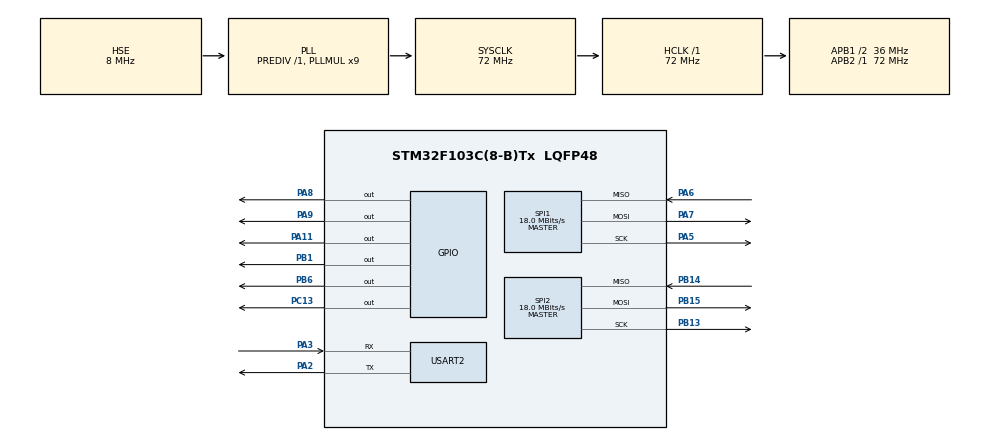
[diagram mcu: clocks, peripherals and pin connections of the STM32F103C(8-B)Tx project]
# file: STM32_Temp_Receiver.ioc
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Mcu.Family=STM32F1
Mcu.Name=STM32F103C(8-B)Tx
Mcu.Package=LQFP48
NVIC.PriorityGroup=NVIC_PRIORITYGROUP_4
PA11.Signal=GPIO_Output
PA13.Mode=Serial_Wire
PA13.Signal=SYS_JTMS-SWDIO
PA14.Mode=Serial_Wire
PA14.Signal=SYS_JTCK-SWCLK
PA2.Mode=Asynchronous
PA2.Signal=USART2_TX
PA3.Mode=Asynchronous
PA3.Signal=USART2_RX
PA5.Mode=Full_Duplex_Master
PA5.Signal=SPI1_SCK
PA6.Mode=Full_Duplex_Master
PA6.Signal=SPI1_MISO
PA7.Mode=Full_Duplex_Master
PA7.Signal=SPI1_MOSI
PA8.Signal=GPIO_Output
PA9.Signal=GPIO_Output
PB1.Signal=GPIO_Output
PB13.Mode=Full_Duplex_Master
PB13.Signal=SPI2_SCK
PB14.Mode=Full_Duplex_Master
PB14.Signal=SPI2_MISO
PB15.Mode=Full_Duplex_Master
PB15.Signal=SPI2_MOSI
PB6.Signal=GPIO_Output
PC13-TAMPER-RTC.Signal=GPIO_Output
PC14-OSC32_IN.Mode=LSE-External-Oscillator
PC14-OSC32_IN.Signal=RCC_OSC32_IN
PC15-OSC32_OUT.Mode=LSE-External-Oscillator
PC15-OSC32_OUT.Signal=RCC_OSC32_OUT
PD0-OSC_IN.Mode=HSE-External-Oscillator
PD0-OSC_IN.Signal=RCC_OSC_IN
PD1-OSC_OUT.Mode=HSE-External-Oscillator
PD1-OSC_OUT.Signal=RCC_OSC_OUT
ProjectManager.HeapSize=0x200
ProjectManager.StackSize=0x400
ProjectManager.TargetToolchain=STM32CubeIDE
RCC.AHBFreq_Value=72000000
RCC.APB1CLKDivider=RCC_HCLK_DIV2
RCC.APB1Freq_Value=36000000
RCC.APB1TimFreq_Value=72000000
RCC.APB2Freq_Value=72000000
RCC.APB2TimFreq_Value=72000000
RCC.HCLKFreq_Value=72000000
RCC.PLLMUL=RCC_PLL_MUL9
RCC.PLLSourceVirtual=RCC_PLLSOURCE_HSE
RCC.SYSCLKFreq_VALUE=72000000
RCC.SYSCLKSource=RCC_SYSCLKSOURCE_PLLCLK
RCC.USBFreq_Value=72000000
SPI1.BaudRatePrescaler=SPI_BAUDRATEPRESCALER_4
SPI1.CalculateBaudRate=18.0 MBits/s
SPI1.Direction=SPI_DIRECTION_2LINES
SPI1.Mode=SPI_MODE_MASTER
SPI1.VirtualType=VM_MASTER
SPI2.BaudRatePrescaler=SPI_BAUDRATEPRESCALER_2
SPI2.CalculateBaudRate=18.0 MBits/s
SPI2.Direction=SPI_DIRECTION_2LINES
SPI2.Mode=SPI_MODE_MASTER
SPI2.VirtualType=VM_MASTER
USART2.VirtualMode=VM_ASYNC
board=custom

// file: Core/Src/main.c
/* USER CODE BEGIN Header */
/**
  ******************************************************************************
  * @file           : main.c
  * @brief          : Main program body
  ******************************************************************************
  * @attention
  *
  * <h2><center>&copy; Copyright (c) 2020 STMicroelectronics.
  * All rights reserved.</center></h2>
  *
  * This software component is licensed by ST under BSD 3-Clause license,
  * the "License"; You may not use this file except in compliance with the
  * License. You may obtain a copy of the License at:
  *                        opensource.org/licenses/BSD-3-Clause
  *
  ******************************************************************************
  */
/* USER CODE END Header */
#include "main.h"

/* USER CODE BEGIN Includes */
#include <string.h>
#include <stdarg.h>
#include <stdio.h>
#include "ili9341.h"

#include "fonts.h"
#include "rfm69.h"

//#include "testimg.h"
/* USER CODE END Includes */

SPI_HandleTypeDef hspi1;
SPI_HandleTypeDef hspi2;

UART_HandleTypeDef huart2;

void SystemClock_Config(void);
static void MX_GPIO_Init(void);
static void MX_SPI1_Init(void);
static void MX_USART2_UART_Init(void);
static void MX_SPI2_Init(void);

/* USER CODE BEGIN 0 */
void UART_Printf(const char* fmt, ...) {
    char buff[256];
    va_list args;
    va_start(args, fmt);
    vsnprintf(buff, sizeof(buff), fmt, args);
    HAL_UART_Transmit(&huart2, (uint8_t*)buff, strlen(buff),
                      HAL_MAX_DELAY);
    va_end(args);
}

void init() {
    ILI9341_Unselect();
    ILI9341_Init();

}

void loop() {
    if(HAL_SPI_DeInit(&hspi1) != HAL_OK) {
        UART_Printf("HAL_SPI_DeInit failed!\r\n");
        return;
    }

    hspi1.Init.BaudRatePrescaler = SPI_BAUDRATEPRESCALER_2;

    if(HAL_SPI_Init(&hspi1) != HAL_OK) {
        UART_Printf("HAL_SPI_Init failed!\r\n");
        return;
    }

    // Check border
    ILI9341_FillScreen(ILI9341_BLACK);
    UART_Printf("After black!\r\n");

    for(int x = 0; x < ILI9341_WIDTH; x++) {
        ILI9341_DrawPixel(x, 0, ILI9341_RED);
        ILI9341_DrawPixel(x, ILI9341_HEIGHT-1, ILI9341_RED);
    }
    UART_Printf("After first loop!\r\n");

    for(int y = 0; y < ILI9341_HEIGHT; y++) {
        ILI9341_DrawPixel(0, y, ILI9341_RED);
        ILI9341_DrawPixel(ILI9341_WIDTH-1, y, ILI9341_RED);
    }

    HAL_Delay(3000);

    // Check fonts
    ILI9341_FillScreen(ILI9341_BLACK);
    ILI9341_WriteString(0, 0, "Font_7x10, red on black, lorem ipsum dolor sit amet", Font_7x10, ILI9341_RED, ILI9341_BLACK);
    ILI9341_WriteString(0, 3*10, "Font_11x18, green, lorem ipsum dolor sit amet", Font_11x18, ILI9341_GREEN, ILI9341_BLACK);
    ILI9341_WriteString(0, 3*10+3*18, "Font_16x26, blue, lorem ipsum dolor sit amet", Font_16x26, ILI9341_BLUE, ILI9341_BLACK);

    HAL_Delay(1000);
    ILI9341_InvertColors(true);
    HAL_Delay(1000);
    ILI9341_InvertColors(false);

    HAL_Delay(5000);

    // Check colors
    ILI9341_FillScreen(ILI9341_WHITE);
    ILI9341_WriteString(0, 0, "WHITE", Font_11x18, ILI9341_BLACK, ILI9341_WHITE);
    HAL_Delay(500);

    ILI9341_FillScreen(ILI9341_BLUE);
    ILI9341_WriteString(0, 0, "BLUE", Font_11x18, ILI9341_BLACK, ILI9341_BLUE);
    HAL_Delay(500);

    ILI9341_FillScreen(ILI9341_RED);
    ILI9341_WriteString(0, 0, "RED", Font_11x18, ILI9341_BLACK, ILI9341_RED);
    HAL_Delay(500);

    ILI9341_FillScreen(ILI9341_GREEN);
    ILI9341_WriteString(0, 0, "GREEN", Font_11x18, ILI9341_BLACK, ILI9341_GREEN);
    HAL_Delay(500);

    ILI9341_FillScreen(ILI9341_CYAN);
    ILI9341_WriteString(0, 0, "CYAN", Font_11x18, ILI9341_BLACK, ILI9341_CYAN);
    HAL_Delay(500);

    ILI9341_FillScreen(ILI9341_MAGENTA);
    ILI9341_WriteString(0, 0, "MAGENTA", Font_11x18, ILI9341_BLACK, ILI9341_MAGENTA);
    HAL_Delay(500);

    ILI9341_FillScreen(ILI9341_YELLOW);
    ILI9341_WriteString(0, 0, "YELLOW", Font_11x18, ILI9341_BLACK, ILI9341_YELLOW);
    HAL_Delay(500);

    ILI9341_FillScreen(ILI9341_BLACK);
    ILI9341_WriteString(0, 0, "BLACK", Font_11x18, ILI9341_WHITE, ILI9341_BLACK);
    HAL_Delay(500);

    //ILI9341_DrawImage((ILI9341_WIDTH - 240) / 2, (ILI9341_HEIGHT - 240) / 2, 240, 240, (const uint16_t*)test_img_240x240);

    HAL_Delay(3000);

    ILI9341_FillScreen(ILI9341_BLACK);
    ILI9341_WriteString(0, 0, "Touchpad test.  Draw something!", Font_11x18, ILI9341_WHITE, ILI9341_BLACK);
    HAL_Delay(1000);
    ILI9341_FillScreen(ILI9341_BLACK);

    if(HAL_SPI_DeInit(&hspi1) != HAL_OK) {
        UART_Printf("HAL_SPI_DeInit failed!\r\n");
        return;
    }

    hspi1.Init.BaudRatePrescaler = SPI_BAUDRATEPRESCALER_128;

    if(HAL_SPI_Init(&hspi1) != HAL_OK) {
        UART_Printf("HAL_SPI_Init failed!\r\n");
        return;
    }

}

/* USER CODE END 0 */

int main(void)
{

  /* MCU Configuration--------------------------------------------------------*/

  /* Reset of all peripherals, Initializes the Flash interface and the Systick. */
  HAL_Init();

  /* Configure the system clock */
  SystemClock_Config();

  /* Initialize all configured peripherals */
  MX_GPIO_Init();
  MX_SPI1_Init();
  MX_USART2_UART_Init();
  MX_SPI2_Init();
  /* USER CODE BEGIN 2 */
  UART_Printf("Hello world!\r\n");
  HAL_GPIO_WritePin(GPIOC, GPIO_PIN_13, GPIO_PIN_SET);
  /* USER CODE END 2 */

  /* Infinite loop */
  /* USER CODE BEGIN WHILE */
  init();
  ILI9341_FillScreen(ILI9341_BLACK);
  ILI9341_WriteString(0, 0, "Font_7x10, Hello World!", Font_7x10, ILI9341_WHITE, ILI9341_BLACK);
  ILI9341_WriteString(0, 50, "Font_11x18, Hello World!", Font_11x18, ILI9341_WHITE, ILI9341_BLACK);

  HAL_GPIO_WritePin(GPIOA, GPIO_PIN_8, GPIO_PIN_SET);
  //HAL_GPIO_WritePin(GPIOA, GPIO_PIN_8, GPIO_PIN_RESET);

  //HAL_GPIO_WritePin(GPIOA, GPIO_PIN_8, GPIO_PIN_SET);

  //RFM69_reset();

  // init RF module and put it to sleep
  RFM69_init(RF69_868MHZ, 100);
  RFM69_dumpRegisters();
    while (1)
    {

    /* USER CODE END WHILE */

    }
}

void SystemClock_Config(void)
{
  RCC_OscInitTypeDef RCC_OscInitStruct = {0};
  RCC_ClkInitTypeDef RCC_ClkInitStruct = {0};

  /** Initializes the RCC Oscillators according to the specified parameters
  * in the RCC_OscInitTypeDef structure.
  */
  RCC_OscInitStruct.OscillatorType = RCC_OSCILLATORTYPE_HSE;
  RCC_OscInitStruct.HSEState = RCC_HSE_ON;
  RCC_OscInitStruct.HSEPredivValue = RCC_HSE_PREDIV_DIV1;
  RCC_OscInitStruct.HSIState = RCC_HSI_ON;
  RCC_OscInitStruct.PLL.PLLState = RCC_PLL_ON;
  RCC_OscInitStruct.PLL.PLLSource = RCC_PLLSOURCE_HSE;
  RCC_OscInitStruct.PLL.PLLMUL = RCC_PLL_MUL9;
  if (HAL_RCC_OscConfig(&RCC_OscInitStruct) != HAL_OK)
  {
    Error_Handler();
  }
  /** Initializes the CPU, AHB and APB buses clocks
  */
  RCC_ClkInitStruct.ClockType = RCC_CLOCKTYPE_HCLK|RCC_CLOCKTYPE_SYSCLK
                              |RCC_CLOCKTYPE_PCLK1|RCC_CLOCKTYPE_PCLK2;
  RCC_ClkInitStruct.SYSCLKSource = RCC_SYSCLKSOURCE_PLLCLK;
  RCC_ClkInitStruct.AHBCLKDivider = RCC_SYSCLK_DIV1;
  RCC_ClkInitStruct.APB1CLKDivider = RCC_HCLK_DIV2;
  RCC_ClkInitStruct.APB2CLKDivider = RCC_HCLK_DIV1;

  if (HAL_RCC_ClockConfig(&RCC_ClkInitStruct, FLASH_LATENCY_2) != HAL_OK)
  {
    Error_Handler();
  }
}

static void MX_SPI1_Init(void)
{

  /* SPI1 parameter configuration*/
  hspi1.Instance = SPI1;
  hspi1.Init.Mode = SPI_MODE_MASTER;
  hspi1.Init.Direction = SPI_DIRECTION_2LINES;
  hspi1.Init.DataSize = SPI_DATASIZE_8BIT;
  hspi1.Init.CLKPolarity = SPI_POLARITY_LOW;
  hspi1.Init.CLKPhase = SPI_PHASE_1EDGE;
  hspi1.Init.NSS = SPI_NSS_SOFT;
  hspi1.Init.BaudRatePrescaler = SPI_BAUDRATEPRESCALER_4;
  hspi1.Init.FirstBit = SPI_FIRSTBIT_MSB;
  hspi1.Init.TIMode = SPI_TIMODE_DISABLE;
  hspi1.Init.CRCCalculation = SPI_CRCCALCULATION_DISABLE;
  hspi1.Init.CRCPolynomial = 10;
  if (HAL_SPI_Init(&hspi1) != HAL_OK)
  {
    Error_Handler();
  }

}

static void MX_SPI2_Init(void)
{

  /* SPI2 parameter configuration*/
  hspi2.Instance = SPI2;
  hspi2.Init.Mode = SPI_MODE_MASTER;
  hspi2.Init.Direction = SPI_DIRECTION_2LINES;
  hspi2.Init.DataSize = SPI_DATASIZE_8BIT;
  hspi2.Init.CLKPolarity = SPI_POLARITY_LOW;
  hspi2.Init.CLKPhase = SPI_PHASE_1EDGE;
  hspi2.Init.NSS = SPI_NSS_SOFT;
  //hspi2.Init.BaudRatePrescaler = SPI_BAUDRATEPRESCALER_2;
  hspi2.Init.BaudRatePrescaler = SPI_BAUDRATEPRESCALER_32;
  hspi2.Init.FirstBit = SPI_FIRSTBIT_MSB;
  hspi2.Init.TIMode = SPI_TIMODE_DISABLE;
  hspi2.Init.CRCCalculation = SPI_CRCCALCULATION_DISABLE;
  hspi2.Init.CRCPolynomial = 7;
  if (HAL_SPI_Init(&hspi2) != HAL_OK)
  {
    Error_Handler();
  }

}

static void MX_USART2_UART_Init(void)
{

  huart2.Instance = USART2;
  huart2.Init.BaudRate = 115200;
  huart2.Init.WordLength = UART_WORDLENGTH_8B;
  huart2.Init.StopBits = UART_STOPBITS_1;
  huart2.Init.Parity = UART_PARITY_NONE;
  huart2.Init.Mode = UART_MODE_TX_RX;
  huart2.Init.HwFlowCtl = UART_HWCONTROL_NONE;
  huart2.Init.OverSampling = UART_OVERSAMPLING_16;
  if (HAL_UART_Init(&huart2) != HAL_OK)
  {
    Error_Handler();
  }

}

static void MX_GPIO_Init(void)
{
  GPIO_InitTypeDef GPIO_InitStruct = {0};

  /* GPIO Ports Clock Enable */
  __HAL_RCC_GPIOC_CLK_ENABLE();
  __HAL_RCC_GPIOD_CLK_ENABLE();
  __HAL_RCC_GPIOA_CLK_ENABLE();
  __HAL_RCC_GPIOB_CLK_ENABLE();

  /*Configure GPIO pin Output Level */
    	     HAL_GPIO_WritePin(GPIOC, GPIO_PIN_13, GPIO_PIN_RESET);

    	     /*Configure GPIO pin Output Level */
    	     HAL_GPIO_WritePin(GPIOB, GPIO_PIN_1|GPIO_PIN_6, GPIO_PIN_RESET);

    	     /*Configure GPIO pin Output Level */
    	     HAL_GPIO_WritePin(GPIOA, GPIO_PIN_8|GPIO_PIN_9|GPIO_PIN_11, GPIO_PIN_RESET);

  /*Configure GPIO pin : PC13 */
  GPIO_InitStruct.Pin = GPIO_PIN_13;
  GPIO_InitStruct.Mode = GPIO_MODE_OUTPUT_PP;
  GPIO_InitStruct.Pull = GPIO_NOPULL;
  GPIO_InitStruct.Speed = GPIO_SPEED_FREQ_LOW;
  HAL_GPIO_Init(GPIOC, &GPIO_InitStruct);

  /*Configure GPIO pins : PB1 PB6 */
  GPIO_InitStruct.Pin = GPIO_PIN_1|GPIO_PIN_6;
  GPIO_InitStruct.Mode = GPIO_MODE_OUTPUT_PP;
  GPIO_InitStruct.Pull = GPIO_NOPULL;
  GPIO_InitStruct.Speed = GPIO_SPEED_FREQ_LOW;
  HAL_GPIO_Init(GPIOB, &GPIO_InitStruct);

  /*Configure GPIO pins : PA8 PA9 PA11 */
  GPIO_InitStruct.Pin = GPIO_PIN_8|GPIO_PIN_9|GPIO_PIN_11;
  GPIO_InitStruct.Mode = GPIO_MODE_OUTPUT_PP;
  GPIO_InitStruct.Pull = GPIO_NOPULL;
  GPIO_InitStruct.Speed = GPIO_SPEED_FREQ_LOW;
  HAL_GPIO_Init(GPIOA, &GPIO_InitStruct);

  /*
  GPIO_InitTypeDef gpio;
  	 gpio.Mode = GPIO_MODE_AF_PP;
  	 gpio.Pin = GPIO_PIN_13 | GPIO_PIN_15;		// SCK, MOSI
  	 gpio.Pull = GPIO_NOPULL;
  	 gpio.Speed = GPIO_SPEED_FREQ_HIGH;
  	 HAL_GPIO_Init(GPIOB, &gpio);

  	 gpio.Mode = GPIO_MODE_AF_INPUT;
  	 gpio.Pin = GPIO_PIN_14;						// MISO
  	 HAL_GPIO_Init(GPIOB, &gpio);
  	 */

}

void Error_Handler(void)
{
}

/************************ (C) COPYRIGHT STMicroelectronics *****END OF FILE****/
